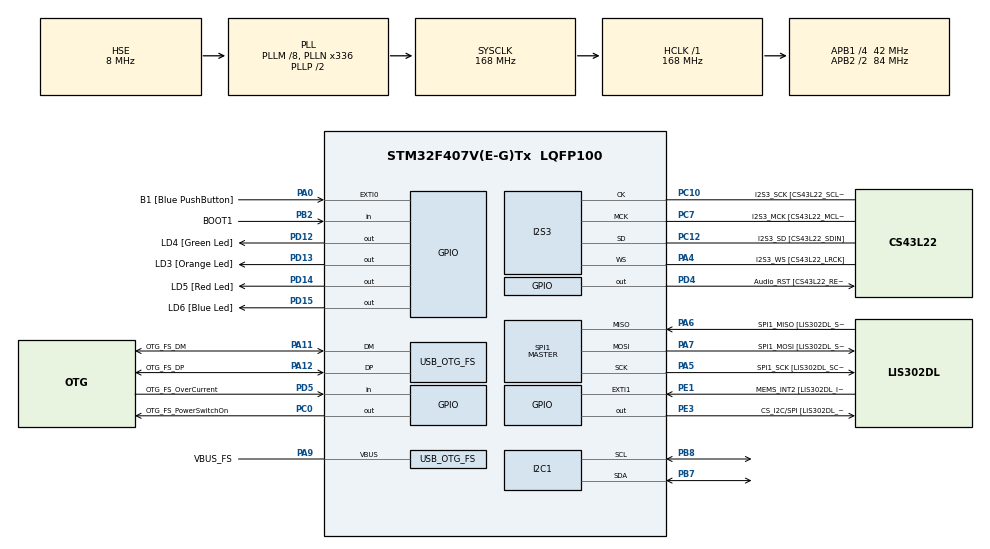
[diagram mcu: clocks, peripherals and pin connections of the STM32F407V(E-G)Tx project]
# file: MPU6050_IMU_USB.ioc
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I2C1.I2C_Mode=I2C_Fast
I2S3.AudioFreq-Half_Duplex_Master=I2S_AUDIOFREQ_96K
I2S3.ErrorAudioFreq=-2.34 %
I2S3.ErrorAudioFreq-Half_Duplex_Master=0.8 %
I2S3.FullDuplexMode=I2S_FULLDUPLEXMODE_DISABLE
I2S3.Instance=SPI$Index
I2S3.RealAudioFreq=93.75 KHz
I2S3.RealAudioFreq-Half_Duplex_Master=96.774 KHz
I2S3.VirtualMode=I2S_MODE_MASTER
Mcu.Family=STM32F4
Mcu.Name=STM32F407V(E-G)Tx
Mcu.Package=LQFP100
NVIC.OTG_FS_IRQn=true\:0\:0\:false\:false\:true\:true\:true\:true
NVIC.PriorityGroup=NVIC_PRIORITYGROUP_0
PA0-WKUP.GPIO_Label=B1 [Blue PushButton]
PA0-WKUP.GPIO_ModeDefaultEXTI=GPIO_MODE_EVT_RISING
PA0-WKUP.GPIO_PuPd=GPIO_NOPULL
PA0-WKUP.Signal=GPXTI0
PA10.GPIO_Label=OTG_FS_ID
PA10.GPIO_Mode=GPIO_MODE_AF_PP
PA10.GPIO_PuPd=GPIO_NOPULL
PA10.GPIO_Speed=GPIO_SPEED_FREQ_LOW
PA10.Signal=USB_OTG_FS_ID
PA11.GPIO_Label=OTG_FS_DM
PA11.GPIO_Mode=GPIO_MODE_AF_PP
PA11.GPIO_PuPd=GPIO_NOPULL
PA11.GPIO_Speed=GPIO_SPEED_FREQ_LOW
PA11.Mode=Device_Only
PA11.Signal=USB_OTG_FS_DM
PA12.GPIO_Label=OTG_FS_DP
PA12.GPIO_Mode=GPIO_MODE_AF_PP
PA12.GPIO_PuPd=GPIO_NOPULL
PA12.GPIO_Speed=GPIO_SPEED_FREQ_LOW
PA12.Mode=Device_Only
PA12.Signal=USB_OTG_FS_DP
PA13.GPIO_Label=SWDIO
PA13.Mode=Serial_Wire
PA13.Signal=SYS_JTMS-SWDIO
PA14.GPIO_Label=SWCLK
PA14.Mode=Serial_Wire
PA14.Signal=SYS_JTCK-SWCLK
PA4.GPIO_Label=I2S3_WS [CS43L22_LRCK]
PA4.GPIO_Mode=GPIO_MODE_AF_PP
PA4.GPIO_PuPd=GPIO_NOPULL
PA4.GPIO_Speed=GPIO_SPEED_FREQ_LOW
PA4.Mode=Half_Duplex_Master
PA4.Signal=I2S3_WS
PA5.GPIO_Label=SPI1_SCK [LIS302DL_SCL/SPC]
PA5.GPIO_Mode=GPIO_MODE_AF_PP
PA5.GPIO_PuPd=GPIO_NOPULL
PA5.GPIO_Speed=GPIO_SPEED_FREQ_LOW
PA5.Mode=Full_Duplex_Master
PA5.Signal=SPI1_SCK
PA6.GPIO_Label=SPI1_MISO [LIS302DL_SDO]
PA6.GPIO_Mode=GPIO_MODE_AF_PP
PA6.GPIO_PuPd=GPIO_NOPULL
PA6.GPIO_Speed=GPIO_SPEED_FREQ_LOW
PA6.Mode=Full_Duplex_Master
PA6.Signal=SPI1_MISO
PA7.GPIO_Label=SPI1_MOSI [LIS302DL_SDA/SDI/SDO]
PA7.GPIO_Mode=GPIO_MODE_AF_PP
PA7.GPIO_PuPd=GPIO_NOPULL
PA7.GPIO_Speed=GPIO_SPEED_FREQ_LOW
PA7.Mode=Full_Duplex_Master
PA7.Signal=SPI1_MOSI
PA9.GPIO_Label=VBUS_FS
PA9.GPIO_Mode=GPIO_MODE_INPUT
PA9.GPIO_PuPd=GPIO_NOPULL
PA9.Mode=Activate_VBUS
PA9.Signal=USB_OTG_FS_VBUS
PB10.GPIO_Label=CLK_IN [MP45DT02_CLK]
PB10.GPIO_Mode=GPIO_MODE_AF_PP
PB10.GPIO_PuPd=GPIO_NOPULL
PB10.GPIO_Speed=GPIO_SPEED_FREQ_LOW
PB10.Signal=I2S2_CK
PB2.GPIO_Label=BOOT1
PB2.GPIO_Mode=GPIO_MODE_INPUT
PB2.GPIO_PuPd=GPIO_NOPULL
PB2.Signal=GPIO_Input
PB3.GPIO_Label=SWO
PB3.Signal=SYS_JTDO-SWO
PB7.Mode=I2C
PB7.Signal=I2C1_SDA
PB8.Mode=I2C
PB8.Signal=I2C1_SCL
PC0.GPIO_Label=OTG_FS_PowerSwitchOn
PC0.GPIO_PuPd=GPIO_NOPULL
PC0.GPIO_Speed=GPIO_SPEED_FREQ_LOW
PC0.PinState=GPIO_PIN_SET
PC0.Signal=GPIO_Output
PC10.GPIO_Label=I2S3_SCK [CS43L22_SCLK]
PC10.GPIO_Mode=GPIO_MODE_AF_PP
PC10.GPIO_PuPd=GPIO_NOPULL
PC10.GPIO_Speed=GPIO_SPEED_FREQ_LOW
PC10.Mode=Half_Duplex_Master
PC10.Signal=I2S3_CK
PC12.GPIO_Label=I2S3_SD [CS43L22_SDIN]
PC12.GPIO_Mode=GPIO_MODE_AF_PP
PC12.GPIO_PuPd=GPIO_NOPULL
PC12.GPIO_Speed=GPIO_SPEED_FREQ_LOW
PC12.Mode=Half_Duplex_Master
PC12.Signal=I2S3_SD
PC14-OSC32_IN.GPIO_Label=PC14-OSC32_IN
PC14-OSC32_IN.Mode=LSE-External-Oscillator
PC14-OSC32_IN.Signal=RCC_OSC32_IN
PC15-OSC32_OUT.GPIO_Label=PC15-OSC32_OUT
PC15-OSC32_OUT.Mode=LSE-External-Oscillator
PC15-OSC32_OUT.Signal=RCC_OSC32_OUT
PC3.GPIO_Label=PDM_OUT [MP45DT02_DOUT]
PC3.GPIO_Mode=GPIO_MODE_AF_PP
PC3.GPIO_PuPd=GPIO_NOPULL
PC3.GPIO_Speed=GPIO_SPEED_FREQ_LOW
PC3.Signal=I2S2_SD
PC7.GPIO_Label=I2S3_MCK [CS43L22_MCLK]
PC7.GPIO_Mode=GPIO_MODE_AF_PP
PC7.GPIO_PuPd=GPIO_NOPULL
PC7.GPIO_Speed=GPIO_SPEED_FREQ_LOW
PC7.Mode=Master_Clock_Activated
PC7.Signal=I2S3_MCK
PD12.GPIO_Label=LD4 [Green Led]
PD12.GPIO_PuPd=GPIO_NOPULL
PD12.GPIO_Speed=GPIO_SPEED_FREQ_LOW
PD12.Signal=GPIO_Output
PD13.GPIO_Label=LD3 [Orange Led]
PD13.GPIO_PuPd=GPIO_NOPULL
PD13.GPIO_Speed=GPIO_SPEED_FREQ_LOW
PD13.Signal=GPIO_Output
PD14.GPIO_Label=LD5 [Red Led]
PD14.GPIO_PuPd=GPIO_NOPULL
PD14.GPIO_Speed=GPIO_SPEED_FREQ_LOW
PD14.Signal=GPIO_Output
PD15.GPIO_Label=LD6 [Blue Led]
PD15.GPIO_PuPd=GPIO_NOPULL
PD15.GPIO_Speed=GPIO_SPEED_FREQ_LOW
PD15.Signal=GPIO_Output
PD4.GPIO_Label=Audio_RST [CS43L22_RESET]
PD4.GPIO_PuPd=GPIO_NOPULL
PD4.GPIO_Speed=GPIO_SPEED_FREQ_LOW
PD4.Signal=GPIO_Output
PD5.GPIO_Label=OTG_FS_OverCurrent
PD5.GPIO_Mode=GPIO_MODE_INPUT
PD5.GPIO_PuPd=GPIO_NOPULL
PD5.Signal=GPIO_Input
PE1.GPIO_Label=MEMS_INT2 [LIS302DL_INT2]
PE1.GPIO_ModeDefaultEXTI=GPIO_MODE_EVT_RISING
PE1.GPIO_PuPd=GPIO_NOPULL
PE1.Signal=GPXTI1
PE3.GPIO_Label=CS_I2C/SPI [LIS302DL_CS_I2C/SPI]
PE3.GPIO_PuPd=GPIO_NOPULL
PE3.GPIO_Speed=GPIO_SPEED_FREQ_LOW
PE3.Signal=GPIO_Output
PH0-OSC_IN.GPIO_Label=PH0-OSC_IN
PH0-OSC_IN.Mode=HSE-External-Oscillator
PH0-OSC_IN.Signal=RCC_OSC_IN
PH1-OSC_OUT.GPIO_Label=PH1-OSC_OUT
PH1-OSC_OUT.Mode=HSE-External-Oscillator
PH1-OSC_OUT.Signal=RCC_OSC_OUT
ProjectManager.HeapSize=0x200
ProjectManager.StackSize=0x400
ProjectManager.TargetToolchain=STM32CubeIDE
RCC.48MHZClocksFreq_Value=48000000
RCC.AHBFreq_Value=168000000
RCC.APB1CLKDivider=RCC_HCLK_DIV4
RCC.APB1Freq_Value=42000000
RCC.APB1TimFreq_Value=84000000
RCC.APB2CLKDivider=RCC_HCLK_DIV2
RCC.APB2Freq_Value=84000000
RCC.APB2TimFreq_Value=168000000
RCC.CortexFreq_Value=168000000
RCC.HCLKFreq_Value=168000000
RCC.HSE_VALUE=8000000
RCC.HSI_VALUE=16000000
RCC.PLLM=8
RCC.PLLN=336
RCC.PLLQ=7
RCC.SYSCLKFreq_VALUE=168000000
RCC.SYSCLKSource=RCC_SYSCLKSOURCE_PLLCLK
RCC.VCOOutputFreq_Value=336000000
SPI1.BaudRatePrescaler-Full_Duplex_Master=SPI_BAUDRATEPRESCALER_2
SPI1.CalculateBaudRate-Full_Duplex_Master=42.0 MBits/s
SPI1.Direction=SPI_DIRECTION_2LINES
SPI1.Mode=SPI_MODE_MASTER
SPI1.Mode-Full_Duplex_Master=SPI_MODE_MASTER
SPI1.VirtualType=VM_MASTER
USB_DEVICE.CLASS_NAME_FS=CDC
USB_DEVICE.VirtualMode-CDC_FS=Cdc
USB_DEVICE.VirtualModeFS=Cdc_FS
USB_OTG_FS.VirtualMode=Device_Only
VP_USB_DEVICE_VS_USB_DEVICE_CDC_FS.Mode=CDC_FS
board=STM32F407G-DISC1

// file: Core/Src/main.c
/* USER CODE BEGIN Header */
/**
  ******************************************************************************
  * @file           : main.c
  * @brief          : Main program body
  ******************************************************************************
  * @attention
  *
  * Copyright (c) 2024 STMicroelectronics.
  * All rights reserved.
  *
  * This software is licensed under terms that can be found in the LICENSE file
  * in the root directory of this software component.
  * If no LICENSE file comes with this software, it is provided AS-IS.
  *
  ******************************************************************************
  */
/* USER CODE END Header */
#include "main.h"
#include "usb_device.h"

/* USER CODE BEGIN Includes */
#include "usbd_cdc_if.h"
#include "string.h"
//#include "IFX_EMA.h"
/* USER CODE END Includes */

I2C_HandleTypeDef hi2c1;

I2S_HandleTypeDef hi2s3;

SPI_HandleTypeDef hspi1;

/* USER CODE BEGIN PV */
uint8_t USBRXDataReady = 0;
uint8_t* USBRXDataBuffer;
uint8_t USBRXDataLength = 0;
/* USER CODE END PV */

void SystemClock_Config(void);
static void MX_GPIO_Init(void);
static void MX_I2S3_Init(void);
static void MX_SPI1_Init(void);
static void MX_I2C1_Init(void);

/* USER CODE BEGIN 0 */
#define MPU6050_ADDR 0xD0 		// Hex: 0xD0 -> Decimal: 208

#define SMPLRT_DIV_REG 0x19 	// Hex: 0x19 -> Decimal: 25
#define GYRO_CONFIG_REG 0x1B
#define ACCEL_CONFIG_REG 0x1C
#define ACCEL_XOUT_H_REG 0x3B
#define TEMP_OUT_H_REG 0x41
#define GYRO_XOUT_H_REG 0x43
#define PWR_MGMT_1_REG 0x6B		//Decimal: 107
#define WHO_AM_I_REG 0x75

int16_t Accel_X_RAW = 0;
int16_t Accel_Y_RAW = 0;
int16_t Accel_Z_RAW = 0;

int16_t Gyro_X_RAW = 0;
int16_t Gyro_Y_RAW = 0;
int16_t Gyro_Z_RAW = 0;

char logBuf[128];

float Ax, Ay, Az, Gx, Gy, Gz;

void MPU6050_Init(void)
{
	// https://controllerstech.com/how-to-interface-mpu6050-gy-521-with-stm32/

	uint8_t check, Data;

	// Check device ID WHO_AM_I
	HAL_I2C_Mem_Read(&hi2c1, MPU6050_ADDR, WHO_AM_I_REG, 1, &check, 1, 1000);

	if(check == 104) // 0x68 in hex fæst frá WHO_AM_I_REG
	{
		//Power management register 0x6B we should write all 0's to wake the sensor up
		Data = 0;
		HAL_I2C_Mem_Write(&hi2c1, MPU6050_ADDR, PWR_MGMT_1_REG, 1, &Data, 1, 1000);

		//Set DATA RATE to 1kHz by writing the SMPLRT_DIV register
		Data = 0x07;
		HAL_I2C_Mem_Write(&hi2c1, MPU6050_ADDR, SMPLRT_DIV_REG, 1, &Data, 1, 1000);

		//Set accelerometer configuration in ACCEL_CONFIG register
		//Writing 0x00: Full scale range will be +/- 250 °/s (can be checked in the respective register)
		Data = 0x00;
		HAL_I2C_Mem_Write(&hi2c1, MPU6050_ADDR, ACCEL_CONFIG_REG, 1, &Data, 1, 1000);

		//Set gyroscope configuration in GYRO_CONFIG register
		//Writing 0x00: Full scale range will be +/- 2g (can be checked in the respective register)
		Data = 0x00;
		HAL_I2C_Mem_Write(&hi2c1, MPU6050_ADDR, GYRO_CONFIG_REG, 1, &Data, 1, 1000);
	}
}

void MPU6050_Read_Accel(void)
{
	uint8_t Rec_Data[6];

	// Read 6 bytes of data starting from ACCEL_XOUT_H register
	// If ACCEL_XOUT_H = 11101110 and ACCEL_XOUT_L = 10101010, we will
	// get the resultant 16 bit value as ACCEL_XOUT = 1110111010101010
	// We are shifting the higher 8 bits to the left and than 'or' it
	// with the lower 8 bits.

	HAL_I2C_Mem_Read(&hi2c1, MPU6050_ADDR, ACCEL_XOUT_H_REG, 1, Rec_Data, 6, 1000);

	Accel_X_RAW = (int16_t)(Rec_Data[0] << 8 | Rec_Data[1]); //(ACCEL_XOUT_H << 8 | ACCEL_XOUT_L);
	Accel_Y_RAW = (int16_t)(Rec_Data[2] << 8 | Rec_Data[3]); //(ACCEL_XOUT_H << 8 | ACCEL_XOUT_L);
	Accel_Z_RAW = (int16_t)(Rec_Data[4] << 8 | Rec_Data[5]); //(ACCEL_XOUT_H << 8 | ACCEL_XOUT_L);

	//Convert the raw values into acceleration in 'g'
	//We have to divide according to the full scale value set in FS_SEL
	//I have configured FS_SEL = 0. So I am dividing by 16384.0
	//according to the datasheet.

	Ax = Accel_X_RAW/16384.0;
	Ay = Accel_Y_RAW/16384.0;
	Az = Accel_Z_RAW/16384.0;
}

void MPU6050_Read_Gyro(void)
{
	uint8_t Rec_Data[6];

	// Read 6 bytes of data starting from GYRO_XOUT_H register

	HAL_I2C_Mem_Read(&hi2c1, MPU6050_ADDR, GYRO_XOUT_H_REG, 1, Rec_Data, 6, 1000);

	Gyro_X_RAW = (int16_t)(Rec_Data[0] << 8 | Rec_Data[1]);
	Gyro_Y_RAW = (int16_t)(Rec_Data[2] << 8 | Rec_Data[3]);
	Gyro_Z_RAW = (int16_t)(Rec_Data[4] << 8 | Rec_Data[5]);

	Gx = Gyro_X_RAW/131.0;
	Gy = Gyro_Y_RAW/131.0;
	Gz = Gyro_Z_RAW/131.0;
}

void USBRxHandler(uint8_t* buf, uint16_t len) {
	USBRXDataBuffer = buf;
	USBRXDataLength = len;
	USBRXDataReady = 1;
	// The commented code can very quickly reach the limits of the CPU so we need to do it differently
	//if(strncmp(buf,"Hi",len) == 0){ //string compare, if identical then its = 0
	//	CDC_Transmit_FS("Welcome\r\n", 9);
	//}
	return;
}
/* USER CODE END 0 */

int main(void)
{

  /* MCU Configuration--------------------------------------------------------*/

  /* Reset of all peripherals, Initializes the Flash interface and the Systick. */
  HAL_Init();

  /* Configure the system clock */
  SystemClock_Config();

  /* Initialize all configured peripherals */
  MX_GPIO_Init();
  MX_I2S3_Init();
  MX_SPI1_Init();
  MX_I2C1_Init();
  MX_USB_DEVICE_Init();
  /* USER CODE BEGIN 2 */
  MPU6050_Init();

  HAL_Delay(1000);
  /* USER CODE END 2 */

  /* Infinite loop */
  while (1)
  {

    /* USER CODE BEGIN 3 */
    MPU6050_Read_Accel();
    MPU6050_Read_Gyro();

	sprintf(logBuf, "%.3f,%.3f\r\n", Ax,Ay);
	CDC_Transmit_FS((uint8_t*)logBuf,strlen(logBuf));

    HAL_GPIO_TogglePin(LD3_GPIO_Port, LD3_Pin);
    HAL_Delay(100);
  }
  /* USER CODE END 3 */
}

void SystemClock_Config(void)
{
  RCC_OscInitTypeDef RCC_OscInitStruct = {0};
  RCC_ClkInitTypeDef RCC_ClkInitStruct = {0};

  /** Configure the main internal regulator output voltage
  */
  __HAL_RCC_PWR_CLK_ENABLE();
  __HAL_PWR_VOLTAGESCALING_CONFIG(PWR_REGULATOR_VOLTAGE_SCALE1);

  /** Initializes the RCC Oscillators according to the specified parameters
  * in the RCC_OscInitTypeDef structure.
  */
  RCC_OscInitStruct.OscillatorType = RCC_OSCILLATORTYPE_HSE;
  RCC_OscInitStruct.HSEState = RCC_HSE_ON;
  RCC_OscInitStruct.PLL.PLLState = RCC_PLL_ON;
  RCC_OscInitStruct.PLL.PLLSource = RCC_PLLSOURCE_HSE;
  RCC_OscInitStruct.PLL.PLLM = 8;
  RCC_OscInitStruct.PLL.PLLN = 336;
  RCC_OscInitStruct.PLL.PLLP = RCC_PLLP_DIV2;
  RCC_OscInitStruct.PLL.PLLQ = 7;
  if (HAL_RCC_OscConfig(&RCC_OscInitStruct) != HAL_OK)
  {
    Error_Handler();
  }

  /** Initializes the CPU, AHB and APB buses clocks
  */
  RCC_ClkInitStruct.ClockType = RCC_CLOCKTYPE_HCLK|RCC_CLOCKTYPE_SYSCLK
                              |RCC_CLOCKTYPE_PCLK1|RCC_CLOCKTYPE_PCLK2;
  RCC_ClkInitStruct.SYSCLKSource = RCC_SYSCLKSOURCE_PLLCLK;
  RCC_ClkInitStruct.AHBCLKDivider = RCC_SYSCLK_DIV1;
  RCC_ClkInitStruct.APB1CLKDivider = RCC_HCLK_DIV4;
  RCC_ClkInitStruct.APB2CLKDivider = RCC_HCLK_DIV2;

  if (HAL_RCC_ClockConfig(&RCC_ClkInitStruct, FLASH_LATENCY_5) != HAL_OK)
  {
    Error_Handler();
  }
}

static void MX_I2C1_Init(void)
{

  hi2c1.Instance = I2C1;
  hi2c1.Init.ClockSpeed = 400000;
  hi2c1.Init.DutyCycle = I2C_DUTYCYCLE_2;
  hi2c1.Init.OwnAddress1 = 0;
  hi2c1.Init.AddressingMode = I2C_ADDRESSINGMODE_7BIT;
  hi2c1.Init.DualAddressMode = I2C_DUALADDRESS_DISABLE;
  hi2c1.Init.OwnAddress2 = 0;
  hi2c1.Init.GeneralCallMode = I2C_GENERALCALL_DISABLE;
  hi2c1.Init.NoStretchMode = I2C_NOSTRETCH_DISABLE;
  if (HAL_I2C_Init(&hi2c1) != HAL_OK)
  {
    Error_Handler();
  }

}

static void MX_I2S3_Init(void)
{

  hi2s3.Instance = SPI3;
  hi2s3.Init.Mode = I2S_MODE_MASTER_TX;
  hi2s3.Init.Standard = I2S_STANDARD_PHILIPS;
  hi2s3.Init.DataFormat = I2S_DATAFORMAT_16B;
  hi2s3.Init.MCLKOutput = I2S_MCLKOUTPUT_ENABLE;
  hi2s3.Init.AudioFreq = I2S_AUDIOFREQ_96K;
  hi2s3.Init.CPOL = I2S_CPOL_LOW;
  hi2s3.Init.ClockSource = I2S_CLOCK_PLL;
  hi2s3.Init.FullDuplexMode = I2S_FULLDUPLEXMODE_DISABLE;
  if (HAL_I2S_Init(&hi2s3) != HAL_OK)
  {
    Error_Handler();
  }

}

static void MX_SPI1_Init(void)
{

  /* SPI1 parameter configuration*/
  hspi1.Instance = SPI1;
  hspi1.Init.Mode = SPI_MODE_MASTER;
  hspi1.Init.Direction = SPI_DIRECTION_2LINES;
  hspi1.Init.DataSize = SPI_DATASIZE_8BIT;
  hspi1.Init.CLKPolarity = SPI_POLARITY_LOW;
  hspi1.Init.CLKPhase = SPI_PHASE_1EDGE;
  hspi1.Init.NSS = SPI_NSS_SOFT;
  hspi1.Init.BaudRatePrescaler = SPI_BAUDRATEPRESCALER_2;
  hspi1.Init.FirstBit = SPI_FIRSTBIT_MSB;
  hspi1.Init.TIMode = SPI_TIMODE_DISABLE;
  hspi1.Init.CRCCalculation = SPI_CRCCALCULATION_DISABLE;
  hspi1.Init.CRCPolynomial = 10;
  if (HAL_SPI_Init(&hspi1) != HAL_OK)
  {
    Error_Handler();
  }

}

static void MX_GPIO_Init(void)
{
  GPIO_InitTypeDef GPIO_InitStruct = {0};

  /* GPIO Ports Clock Enable */
  __HAL_RCC_GPIOE_CLK_ENABLE();
  __HAL_RCC_GPIOC_CLK_ENABLE();
  __HAL_RCC_GPIOH_CLK_ENABLE();
  __HAL_RCC_GPIOA_CLK_ENABLE();
  __HAL_RCC_GPIOB_CLK_ENABLE();
  __HAL_RCC_GPIOD_CLK_ENABLE();

  /*Configure GPIO pin Output Level */
  HAL_GPIO_WritePin(CS_I2C_SPI_GPIO_Port, CS_I2C_SPI_Pin, GPIO_PIN_RESET);

  /*Configure GPIO pin Output Level */
  HAL_GPIO_WritePin(OTG_FS_PowerSwitchOn_GPIO_Port, OTG_FS_PowerSwitchOn_Pin, GPIO_PIN_SET);

  /*Configure GPIO pin Output Level */
  HAL_GPIO_WritePin(GPIOD, LD4_Pin|LD3_Pin|LD5_Pin|LD6_Pin
                          |Audio_RST_Pin, GPIO_PIN_RESET);

  /*Configure GPIO pin : CS_I2C_SPI_Pin */
  GPIO_InitStruct.Pin = CS_I2C_SPI_Pin;
  GPIO_InitStruct.Mode = GPIO_MODE_OUTPUT_PP;
  GPIO_InitStruct.Pull = GPIO_NOPULL;
  GPIO_InitStruct.Speed = GPIO_SPEED_FREQ_LOW;
  HAL_GPIO_Init(CS_I2C_SPI_GPIO_Port, &GPIO_InitStruct);

  /*Configure GPIO pin : OTG_FS_PowerSwitchOn_Pin */
  GPIO_InitStruct.Pin = OTG_FS_PowerSwitchOn_Pin;
  GPIO_InitStruct.Mode = GPIO_MODE_OUTPUT_PP;
  GPIO_InitStruct.Pull = GPIO_NOPULL;
  GPIO_InitStruct.Speed = GPIO_SPEED_FREQ_LOW;
  HAL_GPIO_Init(OTG_FS_PowerSwitchOn_GPIO_Port, &GPIO_InitStruct);

  /*Configure GPIO pin : PDM_OUT_Pin */
  GPIO_InitStruct.Pin = PDM_OUT_Pin;
  GPIO_InitStruct.Mode = GPIO_MODE_AF_PP;
  GPIO_InitStruct.Pull = GPIO_NOPULL;
  GPIO_InitStruct.Speed = GPIO_SPEED_FREQ_LOW;
  GPIO_InitStruct.Alternate = GPIO_AF5_SPI2;
  HAL_GPIO_Init(PDM_OUT_GPIO_Port, &GPIO_InitStruct);

  /*Configure GPIO pin : B1_Pin */
  GPIO_InitStruct.Pin = B1_Pin;
  GPIO_InitStruct.Mode = GPIO_MODE_EVT_RISING;
  GPIO_InitStruct.Pull = GPIO_NOPULL;
  HAL_GPIO_Init(B1_GPIO_Port, &GPIO_InitStruct);

  /*Configure GPIO pin : BOOT1_Pin */
  GPIO_InitStruct.Pin = BOOT1_Pin;
  GPIO_InitStruct.Mode = GPIO_MODE_INPUT;
  GPIO_InitStruct.Pull = GPIO_NOPULL;
  HAL_GPIO_Init(BOOT1_GPIO_Port, &GPIO_InitStruct);

  /*Configure GPIO pin : CLK_IN_Pin */
  GPIO_InitStruct.Pin = CLK_IN_Pin;
  GPIO_InitStruct.Mode = GPIO_MODE_AF_PP;
  GPIO_InitStruct.Pull = GPIO_NOPULL;
  GPIO_InitStruct.Speed = GPIO_SPEED_FREQ_LOW;
  GPIO_InitStruct.Alternate = GPIO_AF5_SPI2;
  HAL_GPIO_Init(CLK_IN_GPIO_Port, &GPIO_InitStruct);

  /*Configure GPIO pins : LD4_Pin LD3_Pin LD5_Pin LD6_Pin
                           Audio_RST_Pin */
  GPIO_InitStruct.Pin = LD4_Pin|LD3_Pin|LD5_Pin|LD6_Pin
                          |Audio_RST_Pin;
  GPIO_InitStruct.Mode = GPIO_MODE_OUTPUT_PP;
  GPIO_InitStruct.Pull = GPIO_NOPULL;
  GPIO_InitStruct.Speed = GPIO_SPEED_FREQ_LOW;
  HAL_GPIO_Init(GPIOD, &GPIO_InitStruct);

  /*Configure GPIO pin : OTG_FS_OverCurrent_Pin */
  GPIO_InitStruct.Pin = OTG_FS_OverCurrent_Pin;
  GPIO_InitStruct.Mode = GPIO_MODE_INPUT;
  GPIO_InitStruct.Pull = GPIO_NOPULL;
  HAL_GPIO_Init(OTG_FS_OverCurrent_GPIO_Port, &GPIO_InitStruct);

  /*Configure GPIO pin : MEMS_INT2_Pin */
  GPIO_InitStruct.Pin = MEMS_INT2_Pin;
  GPIO_InitStruct.Mode = GPIO_MODE_EVT_RISING;
  GPIO_InitStruct.Pull = GPIO_NOPULL;
  HAL_GPIO_Init(MEMS_INT2_GPIO_Port, &GPIO_InitStruct);

}

void Error_Handler(void)
{
  __disable_irq();
  while (1)
  {
  }
}
